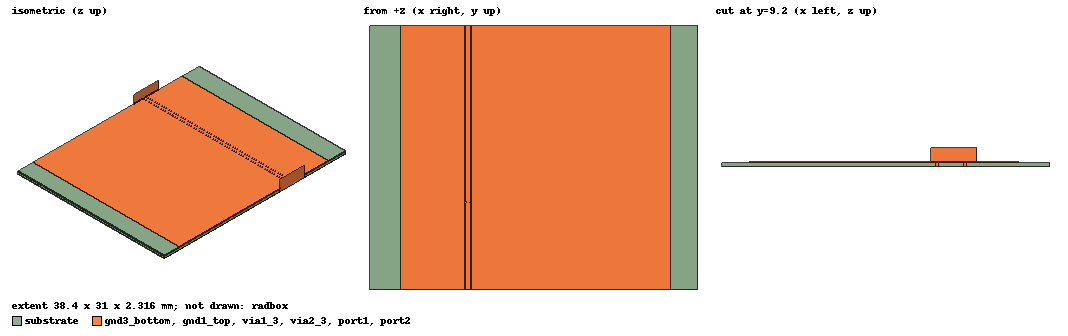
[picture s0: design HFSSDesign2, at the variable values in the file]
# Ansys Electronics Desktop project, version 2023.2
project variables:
  $w = 50.8mm
  $l = 190.5mm
  $w_lin = 0.53789169mm  # optimise 0.52mm..1.56mm
  $h_sig = 0.03556mm
  $w_gnd_top = 7.5mm
  $d = 0.11434763mm  # optimise 0.2mm..0.6mm
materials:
  vacuum: permittivity=1
  FR4_epoxy: permittivity=4.4 dielectric_loss_tangent=0.02
  air: permittivity=1.0006 permeability=1.0000004
  rhodium: conductivity=22200000
  Rogers RO4350 (tm): permittivity=3.66 dielectric_loss_tangent=0.004
  copper: permeability=0.999991 conductivity=58000000

design HFSSDesign2 (HFSS, HFSS Modal Network, model units mm)
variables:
  w = 38.4mm
  l = 31mm
  h_sub = 0.508mm
  h_gnd3 = 0.03556mm
  w_lin = 1.04mm
  h_sig = 0.03556mm
  w_gnd_top = 7.5mm
  h_ges = h_gnd3+h_sig+h_sub
  pos_gnd1 = w/2-$w_lin/2-$d-w_gnd_top
  pos_lin = w/2-$w_lin/2
  pos_gnd2 = w/2+$w_lin/2+$d
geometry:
  radbox [air] = box(corner=(-15mm, 0mm, -15mm), size=(w+30mm, l, h_ges+30mm))
  gnd3_bottom [copper] = box(corner=(0mm, 0mm, 0mm), size=(w, l, h_gnd3))
  substrate [Rogers RO4350 (tm)] = box(corner=(0mm, 0mm, h_gnd3), size=(w, l, h_sub))
  line = box(corner=(pos_lin, 0mm, h_gnd3+h_sub), size=($w_lin, 8.1183mm, h_sig))
  gnd1_top [copper] = box(corner=(pos_gnd1, 0mm, h_gnd3+h_sub), size=(w_gnd_top, l, h_sig))
  gnd2_top = box(corner=(pos_gnd2, 0mm, h_gnd3+h_sub), size=(23.2661mm, l, h_sig))
  port1 = rectangle(corner=(11.26375063mm-$w_lin*5, 0mm, 0mm), z_size=h_ges*4, x_size=$w_lin*10)
  port2 = rectangle(corner=(11.26375063mm-$w_lin*5, l, 0mm), z_size=h_ges*4, x_size=$w_lin*10)
  gnd1_top.unite(gnd2_top)
  via1 [copper] = cylinder(axis=Z, base_centre=(w/2-3*$w_lin, 2mm, h_gnd3), radius=0.2mm, height=h_sub)
  via1_1..via1_11 [copper] = via1.duplicate_along_line(step=(0mm, 2.4mm, 0mm), total=300)  # copies kept: 1..11
  via2 [copper] = cylinder(axis=Z, base_centre=(w/2+3*$w_lin, 2mm, h_gnd3), radius=0.2mm, height=h_sub)
  via2_1..via2_11 [copper] = via2.duplicate_along_line(step=(0mm, 2.4mm, 0mm), total=79)  # copies kept: 1..11
  [gnd1_top, line, via1, via1_1..via1_11, via2, via2_1..via2_11].move(-7.6167065mm, 0mm, -1.110223e-16mm)
  [gnd1_top, line, via1, via1_1..via1_11, via2, via2_1..via2_11].move(3.64215mm, 0mm, 0mm)
  [gnd1_top, line, via1, via1_1..via1_11, via2, via2_1..via2_11].move(-7.34215mm, 0mm, 0mm)
  [gnd1_top, line, via1, via1_1..via1_11, via2, via2_1..via2_11].move(3.64215mm, 0mm, 0mm)
  coordinate_system RelativeCS1 = origin=(38.4mm, 0mm, 0mm) x=(0mm, 0.14mm, 0mm) y=(-0.06mm, 0mm, 0mm)
  in1 = polyline(z=0mm, xy in mm: (8.1183, 27.13645) (8.1707, 27.0926) (8.1707, 26.6424) (8.1183, 26.59876) (8.1183, 27.13645), closed, covered) in RelativeCS1
  [gnd1_top, line, via1, via1_1..via1_11, via2, via2_1..via2_11].move(0mm, 0.00664mm, 0mm) in RelativeCS1
  in1.move(0mm, 0.013692369mm, 0.57912mm) in RelativeCS1
  in1.thicken(h_sig)
  in2 = polyline(z=0mm, xy in mm: (8.1183, 27.13645) (8.1707, 27.0926) (8.1707, 26.6424) (8.1183, 26.59876) (8.1183, 27.13645), closed, covered) in RelativeCS1
  in2.move(0mm, 0.013692369mm, 0.57912mm) in RelativeCS1
  in2.thicken(h_sig)
  in2.mirror(point=(8.1183mm, 27.150142mm, 0.57912mm), normal=(-1mm, 4.2536463e-13mm, 0mm)) in RelativeCS1
  in2.move(0.1048mm, -4.2632564e-14mm, 0mm) in RelativeCS1
  [gnd1_top, in1, in2, line, via1, via1_1..via1_11, via2, via2_1..via2_11].move(0mm, -0.013893mm, 0mm) in RelativeCS1
  line1 = box(corner=(pos_lin, 0mm, h_gnd3+h_sub), size=($w_lin, 2mm, h_sig))
  line1.move(-7.6167065mm, 0mm, -1.110223e-16mm)
  line1.move(3.64215mm, 0mm, 0mm)
  line1.move(-7.34215mm, 0mm, 0mm)
  line1.move(3.64215mm, 0mm, 0mm)
  coordinate_system RelativeCS2 = origin=(38.4mm, 0mm, 0mm) x=(0mm, 0.14mm, 0mm) y=(-0.06mm, 0mm, 0mm)
  line1.move(0mm, 0.00664mm, 0mm) in RelativeCS2
  line1.move(0mm, -0.013893mm, 0mm) in RelativeCS2
  line1.move(3.4976466e-12mm, 8.2231mm, 0mm)
  in2_1 = polyline(z=0mm, xy in mm: (9.3702, 27.49255) (9.4821, 27.58658) (9.4821, 27.04889) (9.3702, 27.14272) (9.3702, 27.49255), closed, covered)
  in2_1.move(1.7816506mm, -16.82579mm, 0.57912mm)
  in2_1.rotate(axis=Z, angle=270deg)
  in2_1.move(1.0406506mm, 21.486851mm, 0mm)
  in2_1.thicken(h_sig)
  in2_2 = polyline(z=0mm, xy in mm: (9.3702, 27.49255) (9.4821, 27.58658) (9.4821, 27.04889) (9.3702, 27.14272) (9.3702, 27.49255), closed, covered)
  in2_2.move(1.7816506mm, -16.82579mm, 0.57912mm)
  in2_2.rotate(axis=Z, angle=270deg)
  in2_2.move(1.0406506mm, 21.486851mm, 0mm)
  in2_2.thicken(h_sig)
  in2_2.mirror(point=(11.263751mm, 10.2231mm, 0.57912mm), normal=(1.3322676e-14mm, -1mm, 0mm))
  in2_2.move(2.3092639e-14mm, 0.2238mm, 0mm)
  line2 = rectangle(corner=(11.801441mm, 10.4469mm, 0.57912mm), x_size=-0.53769mm, y_size=20.5531mm)
  line2.thicken(h_sig)
  gnd1_top.unite(in1, in2, in2_1, in2_2, line, line1, line2)
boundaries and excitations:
  Rad1: Radiation Objects=radbox
  1: Wave Port Objects=port1 WavePortType=Modal NumModes=1 Modes{Mode1{CharImp=Zpi RenormImp=50ohm}}
  2: Wave Port Objects=port2 WavePortType=Modal NumModes=1 Modes{Mode1{CharImp=Zpi RenormImp=50ohm}}
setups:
  Setup1: HfssDriven Frequency=10GHz MaxDeltaS=0.02 MaximumPasses=20 MinimumPasses=1 MinimumConvergedPasses=1 PercentRefinement=30 BasisOrder=1 PortAccuracy=2 DrivenSolverType="Direct Solver"
    sweep Sweep_fast: 10GHz to 20GHz step 0.3GHz; Type=Discrete
    sweep Sweep: 1GHz to 20GHz step 0.1GHz; Type=Discrete
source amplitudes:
  1:1: 1W 0deg
  2:1: 0W 0deg
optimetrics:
  OptimizationSetup2: Optimization Optimizer="Quasi Newton" AnalysisStopOptions{StopForNumIteration MaxNumIteration=1000 MinNumIteration=10} CostFuncNormType=L2 Acceptable_Cost=0 Noise=0.0001 UpdateDesignWhenDone
    vary $d: Min=0.1mm Max=0.6mm MinStep=0.004mm MaxStep=0.04mm MinFocus=0.2mm MaxFocus=0.6mm start=0.125mm
    vary $w_lin: Min=0.3556mm Max=1.56mm MinStep=0.0104mm MaxStep=0.104mm MinFocus=0.52mm MaxFocus=1.56mm start=0.56704mm
    goal dB(S(1,1)) <= -30 weight 0.5 on Setup1 : Sweep_fast at Freq 1GHz to 20GHz
    goal dB(S(2,2)) <= -30 weight 0.5 on Setup1 : Sweep_fast at Freq 1GHz to 20GHz
    goal mag(Zo(1)) == 50 weight 1 on Setup1 : Sweep_fast at Freq 10GHz to 19.9GHz
    goal re(Zo(2)) == 50 weight 1 on Setup1 : Sweep_fast at Freq 10GHz to 19.9GHz
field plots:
  Mag_E1: E Field in substrate on Setup1 : LastAdaptive at Freq=10GHz Phase=0deg
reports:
  S Parameter Plot 3: dB(S(1,1)), dB(S(2,1)), dB(S(1,2)), dB(S(2,2)) vs Freq on Setup1 : Sweep
